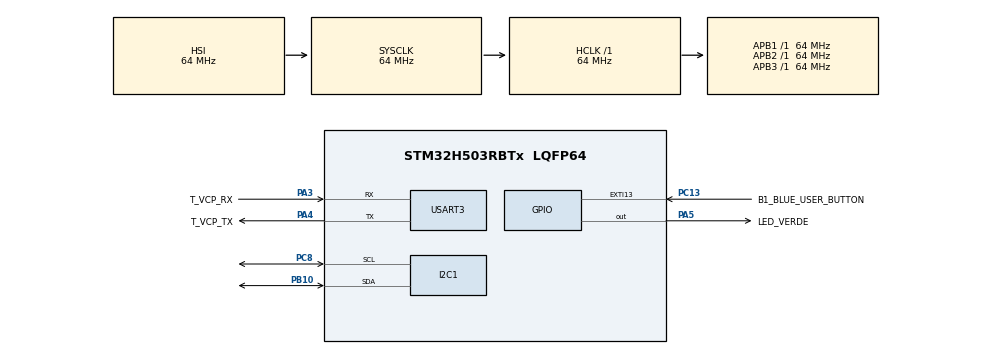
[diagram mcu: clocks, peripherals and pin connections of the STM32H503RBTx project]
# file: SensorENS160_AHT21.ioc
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BOOTPATH.BootPathName=LEGACY
BOOTPATH.UserSelectedBootPath=LEGACY
I2C1.Timing=0x10707DBC
Mcu.Family=STM32H5
Mcu.Name=STM32H503RBTx
Mcu.Package=LQFP64
NVIC.I2C1_EV_IRQn=true\:0\:0\:false\:false\:true\:true\:true\:true
NVIC.PriorityGroup=NVIC_PRIORITYGROUP_4
NVIC.USART3_IRQn=true\:0\:0\:false\:false\:true\:true\:true\:true
PA13(JTMS/SWDIO).Mode=Serial_Wire
PA13(JTMS/SWDIO).Signal=DEBUG_JTMS-SWDIO
PA14(JTCK/SWCLK).Mode=Serial_Wire
PA14(JTCK/SWCLK).Signal=DEBUG_JTCK-SWCLK
PA3.GPIO_Label=T_VCP_RX
PA3.Mode=Asynchronous
PA3.Signal=USART3_RX
PA4.GPIO_Label=T_VCP_TX
PA4.Mode=Asynchronous
PA4.Signal=USART3_TX
PA5.GPIO_Label=LED_VERDE
PA5.Signal=GPIO_Output
PB10.Mode=I2C
PB10.Signal=I2C1_SDA
PC13.GPIO_Label=B1_BLUE_USER_BUTTON
PC13.Signal=GPXTI13
PC8.Mode=I2C
PC8.Signal=I2C1_SCL
ProjectManager.HeapSize=0x200
ProjectManager.StackSize=0x400
ProjectManager.TargetToolchain=STM32CubeIDE
RCC.ADCFreq_Value=64000000
RCC.AHBFreq_Value=64000000
RCC.APB1Freq_Value=64000000
RCC.APB1TimFreq_Value=64000000
RCC.APB2Freq_Value=64000000
RCC.APB2TimFreq_Value=64000000
RCC.APB3Freq_Value=64000000
RCC.CSI_VALUE=4000000
RCC.CortexFreq_Value=64000000
RCC.EPOD_VALUE=4000000
RCC.HCLKFreq_Value=64000000
RCC.HSE_VALUE=24000000
RCC.HSI48_VALUE=48000000
RCC.HSIDiv=RCC_HSI_DIV1
RCC.HSI_VALUE=64000000
RCC.LSE_VALUE=32768
RCC.LSIRC_VALUE=32000
RCC.PLLN=32
RCC.SYSCLKFreq_VALUE=64000000
RCC.USBFreq_Value=48000000
RCC.VCOOutputFreq_Value=128000000
USART3.VirtualMode-Asynchronous=VM_ASYNC
VP_BOOTPATH_VS_BOOTPATH.Mode=BP_Activate
VP_CORTEX_M33_NS_VS_Hclk.Mode=Hclk_Mode
VP_MEMORYMAP_VS_MEMORYMAP.Mode=CurAppReg
VP_PWR_VS_DBSignals.Mode=DisableDeadBatterySignals
VP_PWR_VS_LPOM.Mode=PowerOptimisation
VP_PWR_VS_SECSignals.Mode=Security/Privilege
board=NUCLEO-H503RB

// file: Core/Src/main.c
/* USER CODE BEGIN Header */
/**
  ******************************************************************************
  * @file           : main.c
  * @brief          : Main program body
  ******************************************************************************
  * @attention
  *
  * Copyright (c) 2025 STMicroelectronics.
  * All rights reserved.
  *
  * This software is licensed under terms that can be found in the LICENSE file
  * in the root directory of this software component.
  * If no LICENSE file comes with this software, it is provided AS-IS.
  *
  ******************************************************************************
  */
/* USER CODE END Header */
#include "main.h"

/* USER CODE BEGIN Includes */
#include "stdbool.h"
#include "stdio.h"
/* USER CODE END Includes */

/* USER CODE BEGIN PTD */
//#define ENS160_ADDR   (0x52 << 1)  // ADDR -> GND
#define AHT21_ADDR    (0x38 << 1)

#define ENS160_ADDR_52   (0x52 << 1)
#define ENS160_ADDR_53   (0x53 << 1)

/* ENS160 registros útiles */
#define ENS160_PART_ID       0x00
#define ENS160_OPMODE        0x10
#define ENS160_CONFIG        0x11
#define ENS160_COMMAND       0x12
#define ENS160_TEMP_IN       0x13
#define ENS160_RH_IN         0x15
#define ENS160_DEVICE_STATUS 0x20
#define ENS160_DATA_AQI      0x21
#define ENS160_DATA_TVOC     0x22
#define ENS160_DATA_ECO2     0x24

#define BUFFER_MAX_UART 	 100

typedef struct{
	bool ens160_found;
	uint8_t ID_LSB;
	uint8_t ID_MSB;
	uint16_t ID;
	bool deviceReady;
	bool dataReady;
	uint8_t config_value;
	uint8_t command_value;
	uint8_t opmode_value;
	uint8_t status;
	uint8_t aqi;
	uint16_t tvoc;
	uint16_t eco2;
} ENS160_Config;

typedef struct{
	bool aht21_found;
	uint8_t status;
	bool deviceReady;
	float temperature;
	float humidity;
} AHT21_Config;

typedef struct{
	uint8_t bytes [BUFFER_MAX_UART];
	uint16_t longitud;
}Transfer_Config;

ENS160_Config ens160 = {};
AHT21_Config aht21 = {};
Transfer_Config tx = {};

void ENS160_Init(void);
void ENS160_ConfigReg(void);
void AHT21_Init(void);
bool AHT21_ReadData(float *temperature, float *humidity);
void ENS160_SetTempHum(float *temperature, float *humidity);
void Read_ENS160_Data(void);
void Send_USART(void);
/* USER CODE END PTD */

I2C_HandleTypeDef hi2c1;

UART_HandleTypeDef huart3;

void SystemClock_Config(void);
static void MX_GPIO_Init(void);
static void MX_I2C1_Init(void);
static void MX_USART3_UART_Init(void);

int main(void)
{

  /* MCU Configuration--------------------------------------------------------*/

  /* Reset of all peripherals, Initializes the Flash interface and the Systick. */
  HAL_Init();

  /* Configure the system clock */
  SystemClock_Config();

  /* Initialize all configured peripherals */
  MX_GPIO_Init();
  MX_I2C1_Init();
  MX_USART3_UART_Init();
  /* USER CODE BEGIN 2 */

//  // --- Validar ENS160 ---
//  if (HAL_I2C_IsDeviceReady(&hi2c1, ENS160_ADDR_52, 2, 100) == HAL_OK) {
//      ens160.ens160_found = true;
//  }
//  else if (HAL_I2C_IsDeviceReady(&hi2c1, ENS160_ADDR_53, 2, 100) == HAL_OK) {
//      ens160.ens160_found = true;
//  }
//  else {
//      ens160.ens160_found = false;
//  }
//
//  // --- Validar AHT21 ---
//  if (HAL_I2C_IsDeviceReady(&hi2c1, AHT21_ADDR, 2, 100) == HAL_OK) {
//      aht21.aht21_found = true;
//  }
//  else {
//      aht21.aht21_found = false;
//  }
  ENS160_Init();
   if (ens160.deviceReady){
    ENS160_ConfigReg();
   }

  AHT21_Init();

  /* USER CODE END 2 */

  /* Infinite loop */
  /* USER CODE BEGIN WHILE */
  while (1)
  {
	  if(AHT21_ReadData(&aht21.temperature, &aht21.humidity)){
		  ENS160_SetTempHum(&aht21.temperature, &aht21.humidity); // ENS160 --> compensación ambiental
	  }

	  HAL_I2C_Mem_Read(&hi2c1, ENS160_ADDR_52, ENS160_DEVICE_STATUS, 1, &ens160.status, 1, 100);
	  bool opmode_running = ens160.status & (1 << 7);
	  bool error_detected = ens160.status & (1 << 6);
	  uint8_t validity_flag = (ens160.status >> 2) & 0x03;
	  bool new_data = ens160.status & (1 << 1);

	  // Acepta datos si NO hay error y NO es output inválido (flag 3)
	  if(opmode_running && !error_detected && validity_flag != 3 && new_data){
		  ens160.dataReady = true;

		  // Opcional: indicar que los datos aún no son 100% precisos
//		  ens160.isCalibrated = (validity_flag == 0);
	  } else {
		  ens160.dataReady = false;
	  }

	  if(ens160.dataReady){
		  Read_ENS160_Data();
		  Send_USART(); // Enviar datos por UART
		  ens160.dataReady = false; // Opcional: limpiar bandera para esperar próxima lectura

	  }

    /* USER CODE END WHILE */

  }
}

void SystemClock_Config(void)
{
  RCC_OscInitTypeDef RCC_OscInitStruct = {0};
  RCC_ClkInitTypeDef RCC_ClkInitStruct = {0};

  /** Configure the main internal regulator output voltage
  */
  __HAL_PWR_VOLTAGESCALING_CONFIG(PWR_REGULATOR_VOLTAGE_SCALE3);

  while(!__HAL_PWR_GET_FLAG(PWR_FLAG_VOSRDY)) {}

  /** Initializes the RCC Oscillators according to the specified parameters
  * in the RCC_OscInitTypeDef structure.
  */
  RCC_OscInitStruct.OscillatorType = RCC_OSCILLATORTYPE_HSI;
  RCC_OscInitStruct.HSIState = RCC_HSI_ON;
  RCC_OscInitStruct.HSIDiv = RCC_HSI_DIV1;
  RCC_OscInitStruct.HSICalibrationValue = RCC_HSICALIBRATION_DEFAULT;
  RCC_OscInitStruct.PLL.PLLState = RCC_PLL_NONE;
  if (HAL_RCC_OscConfig(&RCC_OscInitStruct) != HAL_OK)
  {
    Error_Handler();
  }

  /** Initializes the CPU, AHB and APB buses clocks
  */
  RCC_ClkInitStruct.ClockType = RCC_CLOCKTYPE_HCLK|RCC_CLOCKTYPE_SYSCLK
                              |RCC_CLOCKTYPE_PCLK1|RCC_CLOCKTYPE_PCLK2
                              |RCC_CLOCKTYPE_PCLK3;
  RCC_ClkInitStruct.SYSCLKSource = RCC_SYSCLKSOURCE_HSI;
  RCC_ClkInitStruct.AHBCLKDivider = RCC_SYSCLK_DIV1;
  RCC_ClkInitStruct.APB1CLKDivider = RCC_HCLK_DIV1;
  RCC_ClkInitStruct.APB2CLKDivider = RCC_HCLK_DIV1;
  RCC_ClkInitStruct.APB3CLKDivider = RCC_HCLK_DIV1;

  if (HAL_RCC_ClockConfig(&RCC_ClkInitStruct, FLASH_LATENCY_3) != HAL_OK)
  {
    Error_Handler();
  }

  /** Configure the programming delay
  */
  __HAL_FLASH_SET_PROGRAM_DELAY(FLASH_PROGRAMMING_DELAY_1);
}

static void MX_I2C1_Init(void)
{

  hi2c1.Instance = I2C1;
  hi2c1.Init.Timing = 0x10707DBC;
  hi2c1.Init.OwnAddress1 = 0;
  hi2c1.Init.AddressingMode = I2C_ADDRESSINGMODE_7BIT;
  hi2c1.Init.DualAddressMode = I2C_DUALADDRESS_DISABLE;
  hi2c1.Init.OwnAddress2 = 0;
  hi2c1.Init.OwnAddress2Masks = I2C_OA2_NOMASK;
  hi2c1.Init.GeneralCallMode = I2C_GENERALCALL_DISABLE;
  hi2c1.Init.NoStretchMode = I2C_NOSTRETCH_DISABLE;
  if (HAL_I2C_Init(&hi2c1) != HAL_OK)
  {
    Error_Handler();
  }

  /** Configure Analogue filter
  */
  if (HAL_I2CEx_ConfigAnalogFilter(&hi2c1, I2C_ANALOGFILTER_ENABLE) != HAL_OK)
  {
    Error_Handler();
  }

  /** Configure Digital filter
  */
  if (HAL_I2CEx_ConfigDigitalFilter(&hi2c1, 0) != HAL_OK)
  {
    Error_Handler();
  }

}

static void MX_USART3_UART_Init(void)
{

  huart3.Instance = USART3;
  huart3.Init.BaudRate = 115200;
  huart3.Init.WordLength = UART_WORDLENGTH_8B;
  huart3.Init.StopBits = UART_STOPBITS_1;
  huart3.Init.Parity = UART_PARITY_NONE;
  huart3.Init.Mode = UART_MODE_TX_RX;
  huart3.Init.HwFlowCtl = UART_HWCONTROL_NONE;
  huart3.Init.OverSampling = UART_OVERSAMPLING_16;
  huart3.Init.OneBitSampling = UART_ONE_BIT_SAMPLE_DISABLE;
  huart3.Init.ClockPrescaler = UART_PRESCALER_DIV1;
  huart3.AdvancedInit.AdvFeatureInit = UART_ADVFEATURE_NO_INIT;
  if (HAL_UART_Init(&huart3) != HAL_OK)
  {
    Error_Handler();
  }
  if (HAL_UARTEx_SetTxFifoThreshold(&huart3, UART_TXFIFO_THRESHOLD_1_8) != HAL_OK)
  {
    Error_Handler();
  }
  if (HAL_UARTEx_SetRxFifoThreshold(&huart3, UART_RXFIFO_THRESHOLD_1_8) != HAL_OK)
  {
    Error_Handler();
  }
  if (HAL_UARTEx_DisableFifoMode(&huart3) != HAL_OK)
  {
    Error_Handler();
  }

}

static void MX_GPIO_Init(void)
{
  GPIO_InitTypeDef GPIO_InitStruct = {0};

  /* GPIO Ports Clock Enable */
  __HAL_RCC_GPIOC_CLK_ENABLE();
  __HAL_RCC_GPIOA_CLK_ENABLE();
  __HAL_RCC_GPIOB_CLK_ENABLE();

  /*Configure GPIO pin Output Level */
  HAL_GPIO_WritePin(LED_VERDE_GPIO_Port, LED_VERDE_Pin, GPIO_PIN_RESET);

  /*Configure GPIO pin : B1_BLUE_USER_BUTTON_Pin */
  GPIO_InitStruct.Pin = B1_BLUE_USER_BUTTON_Pin;
  GPIO_InitStruct.Mode = GPIO_MODE_IT_RISING;
  GPIO_InitStruct.Pull = GPIO_NOPULL;
  HAL_GPIO_Init(B1_BLUE_USER_BUTTON_GPIO_Port, &GPIO_InitStruct);

  /*Configure GPIO pin : LED_VERDE_Pin */
  GPIO_InitStruct.Pin = LED_VERDE_Pin;
  GPIO_InitStruct.Mode = GPIO_MODE_OUTPUT_PP;
  GPIO_InitStruct.Pull = GPIO_NOPULL;
  GPIO_InitStruct.Speed = GPIO_SPEED_FREQ_LOW;
  HAL_GPIO_Init(LED_VERDE_GPIO_Port, &GPIO_InitStruct);

}

/* USER CODE BEGIN 4 */
void ENS160_Init(void){
	HAL_I2C_Mem_Read(&hi2c1, ENS160_ADDR_52, ENS160_PART_ID, 1, &ens160.ID_MSB, 1, 100);
	HAL_I2C_Mem_Read(&hi2c1, ENS160_ADDR_52, ENS160_PART_ID + 1, 1, &ens160.ID_LSB, 1, 100);

	ens160.ID = (ens160.ID_MSB << 8) | ens160.ID_LSB;

	if (ens160.ID == 0x6001){
		ens160.deviceReady = true;
	} else {
		ens160.deviceReady = false;
	}
}

void ENS160_ConfigReg(void){
	ens160.config_value = 0x00;		// CONFIG: interrupción desactivada (bit 0 = 0)
	ens160.command_value = 0xCC; 	// Limpiar registros GPR antes de iniciar
	ens160.opmode_value = 0x02;  	// 0x02 = Active gas sensing operating mode

	HAL_I2C_Mem_Write(&hi2c1, ENS160_ADDR_52, ENS160_CONFIG, 1, &ens160.config_value, 1, 100);
	HAL_I2C_Mem_Write(&hi2c1, ENS160_ADDR_52, ENS160_COMMAND, 1, &ens160.command_value, 1, 100);
	HAL_I2C_Mem_Write(&hi2c1, ENS160_ADDR_52, ENS160_OPMODE, 1, &ens160.opmode_value, 1, 100);
}

void AHT21_Init(void) {
    HAL_Delay(100);  // Esperar ≥100 ms tras encendido
    uint8_t command = 0x71; // Comando para leer status word

    HAL_I2C_Master_Transmit(&hi2c1, AHT21_ADDR, &command, 1, 100);
    HAL_I2C_Master_Receive(&hi2c1, AHT21_ADDR, &aht21.status, 1, 100);

    if (aht21.status == 0x18) {
        aht21.deviceReady = true;
    } else {
        aht21.deviceReady = false; // no calibrado o mal inicializado
    }
}

bool AHT21_ReadData(float *temperature, float *humidity) {
    uint8_t command_trigger[3] = {0xAC, 0x33, 0x00};
    uint8_t command_status = 0x71;
    uint8_t status;
    uint8_t data[6];

    // Iniciar medición
    HAL_I2C_Master_Transmit(&hi2c1, AHT21_ADDR, command_trigger, 3, 100);

    HAL_Delay(80);  // Esperar que termine la medición (~80 ms)

    // Leer estado (0x71)
    HAL_I2C_Master_Transmit(&hi2c1, AHT21_ADDR, &command_status, 1, 100);
    HAL_I2C_Master_Receive(&hi2c1, AHT21_ADDR, &status, 1, 100);

    if (status & 0x80) return false;  // sigue ocupado

    // Leer 6 bytes de datos
    HAL_I2C_Master_Receive(&hi2c1, AHT21_ADDR, data, 6, 100);

    // Convertir los datos
    uint32_t raw_humidity = ((uint32_t)data[1] << 12) | ((uint32_t)data[2] << 4) | (data[3] >> 4);
    uint32_t raw_temp     = (((uint32_t)data[3] & 0x0F) << 16) | ((uint32_t)data[4] << 8) | data[5];

    *humidity = ((float)raw_humidity / 1048576.0f) * 100.0f; // 2^20 = 1048576
    *temperature = ((float)raw_temp / 1048576.0f) * 200.0f - 50.0f;

    return true;
}

void ENS160_SetTempHum(float *temperature, float *humidity){
	uint16_t temp_kelvin = (uint16_t)((*temperature + 273.15f) * 64); //  DATA_T storage format
	uint16_t rh_scaled   = (uint16_t)(*humidity * 512); // DATA_RH storage format

	uint8_t temp_lsb = temp_kelvin & 0xFF;
	uint8_t temp_msb = temp_kelvin >> 8;
	uint8_t rh_lsb   = rh_scaled & 0xFF;
	uint8_t rh_msb   = rh_scaled >> 8;

	// Enviar al ENS160
	HAL_I2C_Mem_Write(&hi2c1, ENS160_ADDR_52, ENS160_TEMP_IN, 1, &temp_lsb, 1, 100);
	HAL_I2C_Mem_Write(&hi2c1, ENS160_ADDR_52, ENS160_TEMP_IN + 1, 1, &temp_msb, 1, 100);

	HAL_I2C_Mem_Write(&hi2c1, ENS160_ADDR_52, ENS160_RH_IN, 1, &rh_lsb, 1, 100);
	HAL_I2C_Mem_Write(&hi2c1, ENS160_ADDR_52, ENS160_RH_IN + 1, 1, &rh_msb, 1, 100);
}

void Read_ENS160_Data(void){
	uint8_t data_aqi_temp;
	uint8_t data_tvoc_lsb;
	uint8_t data_tvoc_msb;
	uint8_t data_eco2_lsb;
	uint8_t data_eco2_msb;

	// Leer AQI
	HAL_I2C_Mem_Read(&hi2c1, ENS160_ADDR_52, ENS160_DATA_AQI, 1, &data_aqi_temp, 1, 100);

	// Leer TVOC (2 bytes)
	HAL_I2C_Mem_Read(&hi2c1, ENS160_ADDR_52, ENS160_DATA_TVOC, 1, &data_tvoc_lsb, 1, 100);
	HAL_I2C_Mem_Read(&hi2c1, ENS160_ADDR_52, ENS160_DATA_TVOC + 1, 1, &data_tvoc_msb, 1, 100);

	// Leer eCO2 (2 bytes)
	HAL_I2C_Mem_Read(&hi2c1, ENS160_ADDR_52, ENS160_DATA_ECO2, 1, &data_eco2_lsb, 1, 100);
	HAL_I2C_Mem_Read(&hi2c1, ENS160_ADDR_52, ENS160_DATA_ECO2 + 1, 1, &data_eco2_msb, 1, 100);

	// Guardar los datos en la estructura
	ens160.aqi  = data_aqi_temp & 0x07;  // bits 0–2 son el AQI (1–5)
	ens160.tvoc = ((uint16_t)data_tvoc_msb << 8) | data_tvoc_lsb; // TVOC (ppb)
	ens160.eco2 = ((uint16_t)data_eco2_msb << 8) | data_eco2_lsb; // eCO2 (ppm)
}

void Send_USART(){
	// Datos de AHT21
	tx.longitud = (uint16_t)snprintf(
		(char*)tx.bytes,
		sizeof(tx.bytes),
		"Temp: %.2f C, Hum: %.2f %%\r\n",
		aht21.temperature,
		aht21.humidity
	);

	HAL_UART_Transmit(&huart3, tx.bytes, tx.longitud, 100);

	// Datos de ENS160
	tx.longitud = (uint16_t)snprintf(
		(char*)tx.bytes,
		sizeof(tx.bytes),
		"AQI: %d, TVOC: %d ppb, eCO2: %d ppm\r\n",
		ens160.aqi,
		ens160.tvoc,
		ens160.eco2
	);

	HAL_UART_Transmit(&huart3, tx.bytes, tx.longitud, 100);
}
/* USER CODE END 4 */

void Error_Handler(void)
{
  __disable_irq();
  while (1)
  {
  }
}
